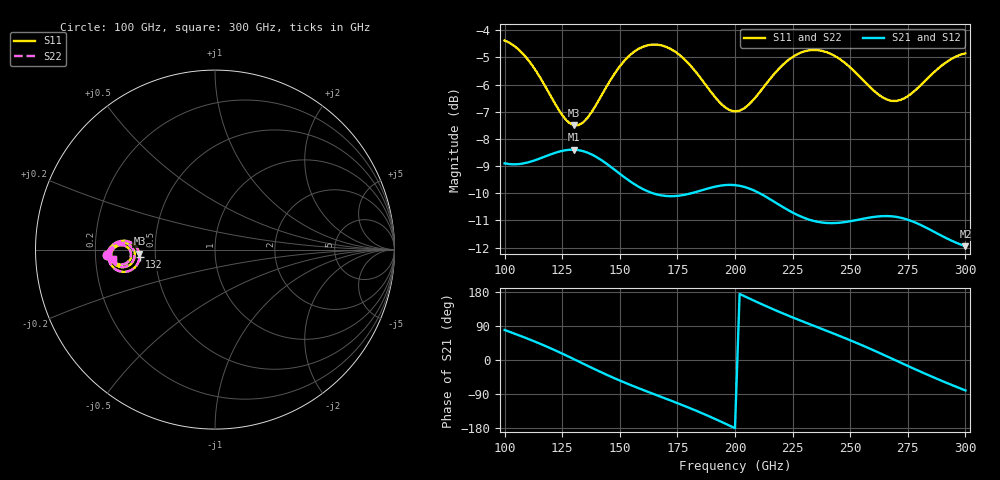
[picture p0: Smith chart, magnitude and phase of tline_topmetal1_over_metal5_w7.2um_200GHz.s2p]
#  GHZ S DB R 50
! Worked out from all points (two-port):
!   101 points, 100 GHz to 300 GHz, reference 50 ohm
!   highest |S21| = -8.40 dB at 130 GHz (marker M1); lowest = -11.9 dB at 300 GHz (marker M2)
!   |S21| within 3 dB of the highest: start of sweep to 285.9 GHz
!   lowest |S11| = -7.5 dB at 130 GHz (marker M3), VSWR 2.46, Z = 20.3 - j1.11 ohm
!   |S11| at or under -10 dB: nowhere
!   |S22| runs from -7.5 to -4.4 dB; largest |S21 - S12| = 0
!   S11 on the Smith chart (normalised r, x): 100 GHz: 0.25, -0.02; 132 GHz: 0.41, -0.04; 300 GHz: 0.27, -0.04
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100  -4.38 -177.2  -8.90 79.3  -8.90 79.3  -4.37 -177.1
116  -5.82 174.4  -8.70 41.3  -8.70 41.3  -5.81 174.6
124  -7.00 176.8  -8.46 19.7  -8.46 19.7  -6.97 177.0
130  -7.50 -176.9  -8.40 2.4  -8.40 2.4  -7.47 -176.9
132  -7.49 -174.5  -8.41 -3.5  -8.41 -3.5  -7.46 -174.4
134  -7.40 -172.1  -8.45 -9.4  -8.45 -9.4  -7.37 -172.1
142  -6.41 -166.3  -8.78 -32.5  -8.78 -32.5  -6.38 -166.3
150  -5.33 -167.1  -9.28 -54.2  -9.28 -54.2  -5.31 -167.0
160  -4.61 -172.5  -9.84 -78.8  -9.84 -78.8  -4.59 -172.4
168  -4.55 -177.5  -10.08 -97.5  -10.08 -97.5  -4.53 -177.4
184  -5.64 175.7  -9.93 -136.1  -9.93 -136.1  -5.60 175.9
192  -6.53 177.3  -9.75 -157.4  -9.75 -157.4  -6.48 177.4
200  -6.99 -176.7  -9.70 -179.9  -9.70 -179.9  -6.93 -176.8
208  -6.56 -170.7  -9.89 157.3  -9.89 157.3  -6.51 -170.8
216  -5.71 -169.1  -10.26 135.4  -10.26 135.4  -5.68 -169.2
224  -5.04 -171.2  -10.66 114.9  -10.66 114.9  -5.01 -171.3
234  -4.73 -176.0  -11.02 90.7  -11.02 90.7  -4.70 -176.1
252  -5.53 177.4  -11.00 47.0  -11.00 47.0  -5.50 177.3
268  -6.60 -177.4  -10.85 3.9  -10.85 3.9  -6.56 -177.6
276  -6.37 -172.7  -11.00 -18.4  -11.00 -18.4  -6.33 -172.9
284  -5.74 -170.7  -11.31 -40.1  -11.31 -40.1  -5.71 -171.0
300  -4.85 -174.8  -11.95 -80.3  -11.95 -80.3  -4.83 -175.0
